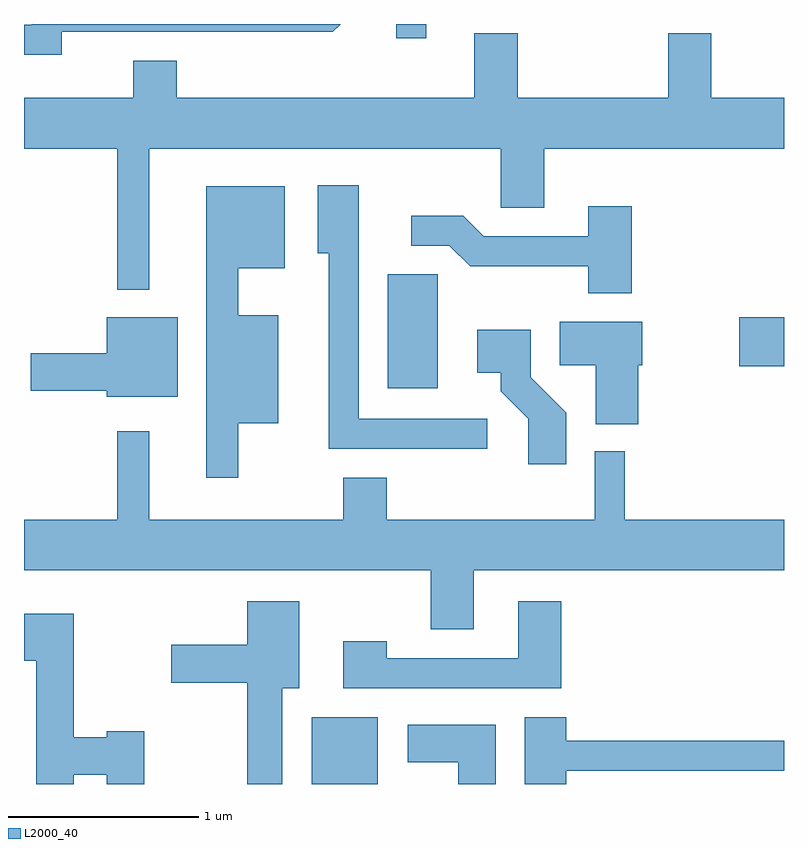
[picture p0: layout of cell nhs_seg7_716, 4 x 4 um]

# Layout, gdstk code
import gdstk
lib = gdstk.Library(unit=1e-6, precision=1e-09)
def R(c, l, rs):  # rectangles x0, y0, x1, y1
    for r in rs: c.add(gdstk.rectangle(r[:2], r[2:], *l))
def P(c, l, *ps):  # polygons
    for p in ps: c.add(gdstk.Polygon(p, *l))
L2000_40 = (2000, 40)

nhs_seg7_716 = lib.new_cell('nhs_seg7_716')
R(nhs_seg7_716, L2000_40, [(207.126,1764.252,207.474,1764.604), (207.526,1766.336,207.789,1766.934), (209.376,1766.451,209.611,1766.709), (207.571,1768.178,207.729,1768.252)])
P(nhs_seg7_716, L2000_40, [(205.809,1768.211),(207.237,1768.211),(207.278,1768.252),(205.651,1768.252),(205.651,1768.249),(205.611,1768.249),(205.611,1768.091),(205.809,1768.091)],
  [(206.269,1767.596),(208.121,1767.596),(208.121,1767.286),(208.349,1767.286),(208.349,1767.596),(209.611,1767.596),(209.611,1767.864),(209.229,1767.864),(209.229,1768.204),(209.001,1768.204),(209.001,1767.864),(208.209,1767.864),(208.209,1768.204),(207.981,1768.204),(207.981,1767.864),(206.414,1767.864),(206.414,1768.059),(206.186,1768.059),(206.186,1767.864),(205.611,1767.864),(205.611,1767.596),(206.101,1767.596),(206.101,1766.853),(206.269,1766.853)],
  [(208.048,1766.174),(207.374,1766.174),(207.374,1767.404),(207.156,1767.404),(207.156,1767.046),(207.216,1767.046),(207.216,1766.016),(208.048,1766.016)],
  [(206.739,1766.151),(206.949,1766.151),(206.949,1766.719),(206.739,1766.719),(206.739,1766.966),(206.984,1766.966),(206.984,1767.399),(206.571,1767.399),(206.571,1765.863),(206.739,1765.863)],
  [(208.809,1767.294),(208.581,1767.294),(208.581,1767.134),(208.032,1767.134),(207.922,1767.244),(207.648,1767.244),(207.648,1767.086),(207.849,1767.086),(207.959,1766.976),(208.581,1766.976),(208.581,1766.836),(208.809,1766.836)],
  [(206.419,1766.709),(206.046,1766.709),(206.046,1766.519),(205.646,1766.519),(205.646,1766.321),(206.046,1766.321),(206.046,1766.291),(206.419,1766.291)],
  [(208.844,1766.456),(208.864,1766.456),(208.864,1766.684),(208.431,1766.684),(208.431,1766.456),(208.621,1766.456),(208.621,1766.146),(208.844,1766.146)],
  [(208.464,1766.207),(208.279,1766.392),(208.279,1766.644),(207.996,1766.644),(207.996,1766.416),(208.121,1766.416),(208.121,1766.319),(208.266,1766.174),(208.266,1765.936),(208.464,1765.936)],
  [(207.979,1765.376),(209.611,1765.376),(209.611,1765.644),(208.774,1765.644),(208.774,1766.003),(208.616,1766.003),(208.616,1765.644),(207.519,1765.644),(207.519,1765.864),(207.291,1765.864),(207.291,1765.644),(206.269,1765.644),(206.269,1766.108),(206.101,1766.108),(206.101,1765.644),(205.611,1765.644),(205.611,1765.376),(207.751,1765.376),(207.751,1765.066),(207.979,1765.066)],
  [(206.969,1764.756),(207.059,1764.756),(207.059,1765.214),(206.786,1765.214),(206.786,1764.984),(206.386,1764.984),(206.386,1764.786),(206.786,1764.786),(206.786,1764.252),(206.969,1764.252)],
  [(208.439,1765.214),(208.211,1765.214),(208.211,1764.914),(207.519,1764.914),(207.519,1765.004),(207.291,1765.004),(207.291,1764.756),(208.439,1764.756)],
  [(205.874,1764.301),(206.046,1764.301),(206.046,1764.252),(206.244,1764.252),(206.244,1764.529),(206.046,1764.529),(206.046,1764.499),(205.874,1764.499),(205.874,1765.149),(205.611,1765.149),(205.611,1764.901),(205.676,1764.901),(205.676,1764.252),(205.874,1764.252)],
  [(208.464,1764.321),(209.611,1764.321),(209.611,1764.479),(208.464,1764.479),(208.464,1764.604),(208.246,1764.604),(208.246,1764.252),(208.464,1764.252)],
  [(208.094,1764.564),(207.631,1764.564),(207.631,1764.366),(207.896,1764.366),(207.896,1764.252),(208.094,1764.252)])

lib.write_gds('nhs_seg7_716.gds')
